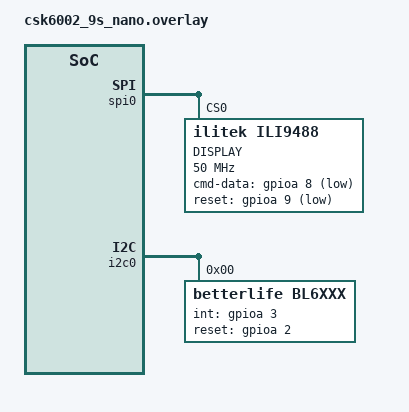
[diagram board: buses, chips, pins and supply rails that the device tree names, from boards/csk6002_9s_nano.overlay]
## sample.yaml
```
sample:
  description: LVGL8 sample benchmark
  name: lvgl8
```

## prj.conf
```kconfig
CONFIG_LVGL8=y
CONFIG_DISPLAY=y
CONFIG_LV_Z_DISPLAY_DEV_NAME="ILI9341"
CONFIG_LV_Z_HOR_RES_MAX=120
CONFIG_LV_Z_VER_RES_MAX=320
CONFIG_LV_USE_DEMO_BENCHMARK=y

CONFIG_MAIN_STACK_SIZE=8192
CONFIG_DISPLAY_LOG_LEVEL_ERR=y

CONFIG_HEAP_MEM_POOL_SIZE=1048576
CONFIG_GPIO=y

CONFIG_SPI=y
# CONFIG_SPI_CSK6=y
CONFIG_SPI_CSK6_FAKE=y

CONFIG_DISPLAY=y
CONFIG_ILI9341=y

CONFIG_DMA=y
CONFIG_DMA_CSK6=y
CONFIG_LOG=y
```

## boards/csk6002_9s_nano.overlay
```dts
#include <dt-bindings/display/ili9xxx.h>
&csk6002_9s_nano_pinctrl{ 
                pinctrl_i2c0_scl_default: i2c0_scl_default{
                        pinctrls = <&pinmuxb 2 8>;
                };
                
                pinctrl_i2c0_sda_default: i2c0_sda_default{
                        pinctrls = <&pinmuxb 3 8>;
                };    

                pinctrl_spi0_sclk_default: spi0_sclk_default {
                        pinctrls = < &pinmuxa 7 6 >;
                };
                pinctrl_spi0_mosi_default: spi0_mosi_default {
                        pinctrls = < &pinmuxa 6 6 >;
                };
                pinctrl_spi0_miso_default: spi0_miso_default {
                        pinctrls = < &pinmuxa 5 6 >;
                };
                pinctrl_spi0_cs_default: spi0_cs_default {
                        pinctrls = < &pinmuxa 4 6 >;
                }; 
};

&spi0 {
        status = "okay";
        pinctrl-0 = <&pinctrl_spi0_sclk_default &pinctrl_spi0_mosi_default &pinctrl_spi0_miso_default &pinctrl_spi0_cs_default>; 
        pinctrl-names = "default";

        ili9488@0 {
        compatible = "ilitek,ili9488";
        label = "DISPLAY";
        spi-max-frequency = <50000000>;
        reg = <0>;
        cmd-data-gpios = <&gpioa 8 1>; 
        reset-gpios = <&gpioa 9 1>; 
        pixel-format = <ILI9XXX_PIXEL_FORMAT_RGB888>;
        rotation = <0>;
        frmctr1 = [a0 11];
        pwctrl1 = [17 15];
        pwctrl2 = [41];
        pgamctrl = [00 03 09 08 16 0a 3f 78 4c 09 0a 08 16 1a 0f];
        ngamctrl = [00 16 19 03 0f 05 32 45 46 04 0e 0d 35 37 0f];
    };
};

&i2c0 {
        status = "okay";
        pinctrl-0 = <&pinctrl_i2c0_scl_default &pinctrl_i2c0_sda_default>; 
        pinctrl-names = "default";
        bl6xxx@0 {
                compatible = "betterlife,bl6xxx";
                reg = <0>;
                label = "BL6XXX";
                status = "okay";
                int-gpios = <&gpioa 3 0>;
                reset-gpios = <&gpioa 2 0>;
        };
};
```

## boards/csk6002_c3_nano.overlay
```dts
&csk6002_c3_nano_pinctrl{
                pinctrl_i2c0_scl_default: i2c0_scl_default{
                        pinctrls = <&pinmuxa 4 8>;
                };
                
                pinctrl_i2c0_sda_default: i2c0_sda_default{
                        pinctrls = <&pinmuxa 5 8>;
                };    

                pinctrl_spi0_sclk_default: spi0_sclk_default {
                        pinctrls = < &pinmuxa 19 6 >;
                };
                pinctrl_spi0_mosi_default: spi0_mosi_default {
                        pinctrls = < &pinmuxa 18 6 >;
                };
                pinctrl_spi0_miso_default: spi0_miso_default {
                        pinctrls = < &pinmuxa 17 6 >;
                };
                pinctrl_spi0_cs_default: spi0_cs_default {
                        pinctrls = < &pinmuxa 20 6 >;
                }; 
};

&spi0 {
    status = "okay";
    pinctrl-0 = <&pinctrl_spi0_sclk_default &pinctrl_spi0_mosi_default &pinctrl_spi0_miso_default &pinctrl_spi0_cs_default>; 
    pinctrl-names = "default";
    
    display: ili9341@0 {
        compatible = "ilitek,ili9341";
        status = "okay";
        label = "ILI9341";
        reg = <0>;

        display-inversion;
        rotation = <90>;
        pixel-format = <1>;
        reset-gpios = <&gpioa 8 1>;
        cmd-data-gpios = <&gpioa 9 1>;
        spi-max-frequency = <25000000>;
        pwctrla = [ 39 2c 00 34 02  ];
        pwctrlb = [ 00 c1 30  ];
        timctrla = [ 85 00 78  ];
        timctrlb = [ 00 00  ];
        pwseqctrl = [ 64 03 12 81  ];
        pwctrl1 = [ 1d  ];
        pwctrl2 = [ 12  ];
        vmctrl1 = [ 33 3f  ];
        vmctrl2 = [ 92  ];
        frmctr1 = [ 00 12  ];
        disctrl = [ 08 82 27  ];
        enable3g = [ 02  ];
        gamset = [ 01  ];
        pumpratioctrl = [ 10  ];
        pgamctrl = [ 0f 22 1c 1b 08 0f 48 b8 34 05 0c 09 0f 07 00  ];
        ngamctrl = [ 00 23 24 07 10 07 38 47 4b 0A 13 06 30 38 0f  ];
        etmod = [ 06  ];
};
};

&i2c0 {
        status = "okay";
        pinctrl-0 = <&pinctrl_i2c0_scl_default &pinctrl_i2c0_sda_default>; 
        pinctrl-names = "default";
        bl6xxx@0 {
                compatible = "betterlife,bl6xxx";
                reg = <0>;
                label = "BL6XXX";
                status = "okay";
                int-gpios = <&gpioa 16 0>;
                reset-gpios = <&gpioa 15 0>;
        };
};
```

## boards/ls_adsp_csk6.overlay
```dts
&ls_adsp_csk6_pinctrl {
        pinctrl_uart2_tx_default: uart2_tx_default {
                pinctrls = <&pinmuxb 0x4 0x3>;
        };
};

&spi1 {
        status = "disabled";
};

&spi_fake {
        status = "okay";
        display: ili9341@0 {
                compatible = "ilitek,ili9341";
                status = "okay";
                label = "ILI9341";
                reg = <0>;
                
                display-inversion;
                rotation = <0>;
                pixel-format = <1>;
                reset-gpios = <&gpioa 8 1>;
                cmd-data-gpios = <&gpioa 9 1>;
                spi-max-frequency = <25000000>;
                pwctrla = [ 39 2c 00 34 02  ];
                pwctrlb = [ 00 c1 30  ];
                timctrla = [ 85 00 78  ];
                timctrlb = [ 00 00  ];
                pwseqctrl = [ 64 03 12 81  ];
                pwctrl1 = [ 1d  ];
                pwctrl2 = [ 12  ];
                vmctrl1 = [ 33 3f  ];
                vmctrl2 = [ 92  ];
                frmctr1 = [ 00 12  ];
                disctrl = [ 08 82 27  ];
                enable3g = [ 02  ];
                gamset = [ 01  ];
                pumpratioctrl = [ 10  ];
                pgamctrl = [ 0f 22 1c 1b 08 0f 48 b8 34 05 0c 09 0f 07 00  ];
                ngamctrl = [ 00 23 24 07 10 07 38 47 4b 0A 13 06 30 38 0f  ];
                etmod = [ 06  ];
        };
};
```

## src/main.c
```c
/*
 * SPDX-License-Identifier: Apache-2.0
 */

#include <device.h>
#include <drivers/display.h>
#include <lvgl.h>
#include <stdio.h>
#include <string.h>
#include <zephyr.h>

#define LOG_LEVEL CONFIG_LOG_DEFAULT_LEVEL
#include <logging/log.h>
LOG_MODULE_REGISTER(app);

void main(void)
{
	const struct device *display_dev;

	display_dev = device_get_binding(CONFIG_LV_Z_DISPLAY_DEV_NAME);
	if (display_dev == NULL) {
		LOG_ERR("Device not ready, aborting test");
		return;
	}

	display_blanking_off(display_dev);

	extern void lv_demo_benchmark(void);
	lv_demo_benchmark();
	
	while (1) {
		lv_task_handler();
		k_sleep(K_MSEC(10));
	}
}
```
